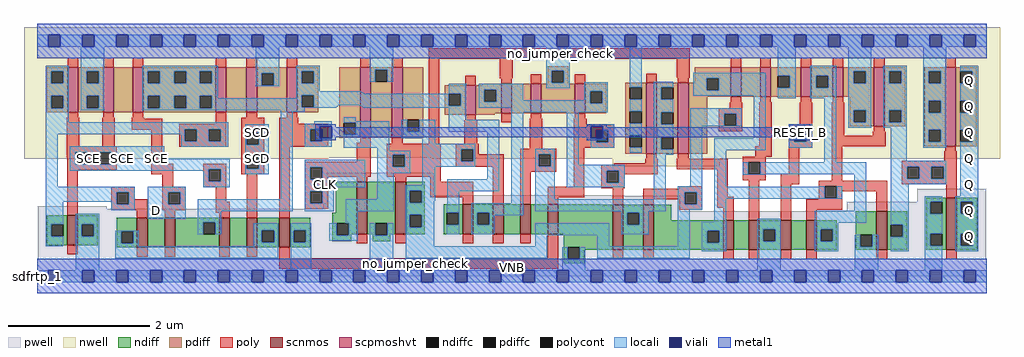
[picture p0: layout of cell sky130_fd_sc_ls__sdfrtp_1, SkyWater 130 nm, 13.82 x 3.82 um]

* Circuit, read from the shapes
.subckt sky130_fd_sc_ls__sdfrtp_1 CLK D RESET_B SCD SCE VGND VNB VPB VPWR Q
XM1 VGND SCE n1 VNB sky130_fd_pr__nfet_01v8 w=0.42 l=0.15
XM2 n2 n1 n3 VNB sky130_fd_pr__nfet_01v8 w=0.42 l=0.15
XM3 n4 D n2 VNB sky130_fd_pr__nfet_01v8 w=0.42 l=0.15
XM4 n5 SCE n4 VNB sky130_fd_pr__nfet_01v8 w=0.42 l=0.15
XM5 n3 SCD n5 VNB sky130_fd_pr__nfet_01v8 w=0.42 l=0.15
XM6 VGND RESET_B n3 VNB sky130_fd_pr__nfet_01v8 w=0.42 l=0.15
XM7 VGND CLK n6 VNB sky130_fd_pr__nfet_01v8 w=0.74 l=0.15
XM8 n7 n6 VGND VNB sky130_fd_pr__nfet_01v8 w=0.74 l=0.15
XM9 n8 n6 n4 VNB sky130_fd_pr__nfet_01v8 w=0.42 l=0.15
XM10 n9 n7 n8 VNB sky130_fd_pr__nfet_01v8 w=0.42 l=0.15
XM11 n10 n11 n9 VNB sky130_fd_pr__nfet_01v8 w=0.42 l=0.15
XM12 VGND RESET_B n10 VNB sky130_fd_pr__nfet_01v8 w=0.42 l=0.15
XM13 n11 n8 VGND VNB sky130_fd_pr__nfet_01v8 w=0.64 l=0.15
XM14 n12 n7 n11 VNB sky130_fd_pr__nfet_01v8 w=0.64 l=0.15
XM15 n13 n6 n12 VNB sky130_fd_pr__nfet_01v8 w=0.42 l=0.15
XM16 VGND n14 n13 VNB sky130_fd_pr__nfet_01v8 w=0.42 l=0.15
XM17 n15 RESET_B VGND VNB sky130_fd_pr__nfet_01v8 w=0.42 l=0.15
XM18 n14 n12 n15 VNB sky130_fd_pr__nfet_01v8 w=0.42 l=0.15
XM19 n16 n12 VGND VNB sky130_fd_pr__nfet_01v8 w=0.55 l=0.15
XM20 Q n16 VGND VNB sky130_fd_pr__nfet_01v8 w=0.74 l=0.15
XM21 VPWR SCE n1 VPB sky130_fd_pr__pfet_01v8_hvt w=0.64 l=0.15
XM22 n17 SCE VPWR VPB sky130_fd_pr__pfet_01v8_hvt w=0.64 l=0.15
XM23 n4 D n17 VPB sky130_fd_pr__pfet_01v8_hvt w=0.64 l=0.15
XM24 n18 n1 n4 VPB sky130_fd_pr__pfet_01v8_hvt w=0.64 l=0.15
XM25 VPWR SCD n18 VPB sky130_fd_pr__pfet_01v8_hvt w=0.64 l=0.15
XM26 n4 RESET_B VPWR VPB sky130_fd_pr__pfet_01v8_hvt w=0.64 l=0.15
XM27 VPWR CLK n6 VPB sky130_fd_pr__pfet_01v8_hvt w=1 l=0.15
XM28 n7 n6 VPWR VPB sky130_fd_pr__pfet_01v8_hvt w=1 l=0.15
XM29 n8 n7 n4 VPB sky130_fd_pr__pfet_01v8_hvt w=0.42 l=0.15
XM30 n19 n6 n8 VPB sky130_fd_pr__pfet_01v8_hvt w=0.42 l=0.15
XM31 VPWR n11 n19 VPB sky130_fd_pr__pfet_01v8_hvt w=0.42 l=0.15
XM32 n8 RESET_B VPWR VPB sky130_fd_pr__pfet_01v8_hvt w=0.42 l=0.15
XM33 n11 n8 VPWR VPB sky130_fd_pr__pfet_01v8_hvt w=1 l=0.15
XM34 n12 n6 n11 VPB sky130_fd_pr__pfet_01v8_hvt w=1 l=0.15
XM35 n20 n7 n12 VPB sky130_fd_pr__pfet_01v8_hvt w=0.42 l=0.15
XM36 VPWR n14 n20 VPB sky130_fd_pr__pfet_01v8_hvt w=0.42 l=0.15
XM37 n14 RESET_B VPWR VPB sky130_fd_pr__pfet_01v8_hvt w=0.42 l=0.15
XM38 VPWR n12 n14 VPB sky130_fd_pr__pfet_01v8_hvt w=0.42 l=0.15
XM39 n16 n12 VPWR VPB sky130_fd_pr__pfet_01v8_hvt w=0.84 l=0.15
XM40 Q n16 VPWR VPB sky130_fd_pr__pfet_01v8_hvt w=1.12 l=0.15
.ends

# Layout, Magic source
magic
tech sky130A
magscale 1 2
<< nwell >>
rect -38 335 2726 704
rect -38 332 825 335
rect 1117 332 2726 335
rect 1629 311 1933 332
<< pwell >>
rect 819 229 1123 293
rect 819 228 1625 229
rect 819 206 1821 228
rect 2491 210 2687 248
rect 1 191 197 198
rect 809 191 1821 206
rect 1 184 1821 191
rect 2292 184 2687 210
rect 1 49 2687 184
rect 0 0 2688 49
<< scnmos >>
rect 84 88 114 172
rect 282 81 312 165
rect 360 81 390 165
rect 515 81 545 165
rect 593 81 623 165
rect 685 81 715 165
rect 904 119 934 267
rect 1014 119 1044 267
rect 1204 119 1234 203
rect 1290 119 1320 203
rect 1367 119 1397 203
rect 1445 119 1475 203
rect 1629 74 1659 202
rect 1715 74 1745 202
rect 1942 74 1972 158
rect 2014 74 2044 158
rect 2105 74 2135 158
rect 2177 74 2207 158
rect 2376 74 2406 184
rect 2574 74 2604 222
<< scpmoshvt >>
rect 86 464 116 592
rect 186 464 216 592
rect 270 464 300 592
rect 505 464 535 592
rect 592 464 622 592
rect 706 464 736 592
rect 914 392 944 592
rect 1004 392 1034 592
rect 1212 457 1242 541
rect 1313 461 1343 545
rect 1397 461 1427 545
rect 1522 461 1552 545
rect 1724 347 1754 547
rect 1814 347 1844 547
rect 1963 508 1993 592
rect 2047 508 2077 592
rect 2162 508 2192 592
rect 2252 508 2282 592
rect 2369 424 2399 592
rect 2571 368 2601 592
<< ndiff >>
rect 27 147 84 172
rect 27 113 39 147
rect 73 113 84 147
rect 27 88 84 113
rect 114 147 171 172
rect 845 180 904 267
rect 114 113 125 147
rect 159 113 171 147
rect 114 88 171 113
rect 225 127 282 165
rect 225 93 237 127
rect 271 93 282 127
rect 225 81 282 93
rect 312 81 360 165
rect 390 153 515 165
rect 390 119 470 153
rect 504 119 515 153
rect 390 81 515 119
rect 545 81 593 165
rect 623 130 685 165
rect 623 96 636 130
rect 670 96 685 130
rect 623 81 685 96
rect 715 130 772 165
rect 715 96 726 130
rect 760 96 772 130
rect 835 150 904 180
rect 835 116 847 150
rect 881 119 904 150
rect 934 150 1014 267
rect 934 119 957 150
rect 881 116 889 119
rect 835 98 889 116
rect 715 81 772 96
rect 949 116 957 119
rect 991 119 1014 150
rect 1044 241 1097 267
rect 1044 207 1055 241
rect 1089 207 1097 241
rect 1044 173 1097 207
rect 1044 139 1055 173
rect 1089 139 1097 173
rect 1044 119 1097 139
rect 1151 179 1204 203
rect 1151 145 1159 179
rect 1193 145 1204 179
rect 1151 119 1204 145
rect 1234 179 1290 203
rect 1234 145 1245 179
rect 1279 145 1290 179
rect 1234 119 1290 145
rect 1320 119 1367 203
rect 1397 119 1445 203
rect 1475 202 1599 203
rect 1475 119 1629 202
rect 991 116 999 119
rect 949 98 999 116
rect 1490 82 1629 119
rect 1490 48 1502 82
rect 1536 74 1629 82
rect 1659 179 1715 202
rect 1659 145 1670 179
rect 1704 145 1715 179
rect 1659 74 1715 145
rect 1745 158 1795 202
rect 2517 210 2574 222
rect 1745 129 1942 158
rect 1745 95 1897 129
rect 1931 95 1942 129
rect 1745 74 1942 95
rect 1972 74 2014 158
rect 2044 133 2105 158
rect 2044 99 2055 133
rect 2089 99 2105 133
rect 2044 74 2105 99
rect 2135 74 2177 158
rect 2207 133 2264 158
rect 2207 99 2218 133
rect 2252 99 2264 133
rect 2207 74 2264 99
rect 2318 117 2376 184
rect 2318 83 2330 117
rect 2364 83 2376 117
rect 2318 74 2376 83
rect 2406 146 2463 184
rect 2406 112 2417 146
rect 2451 112 2463 146
rect 2406 74 2463 112
rect 2517 176 2529 210
rect 2563 176 2574 210
rect 2517 120 2574 176
rect 2517 86 2529 120
rect 2563 86 2574 120
rect 2517 74 2574 86
rect 2604 210 2661 222
rect 2604 176 2615 210
rect 2649 176 2661 210
rect 2604 120 2661 176
rect 2604 86 2615 120
rect 2649 86 2661 120
rect 2604 74 2661 86
rect 1536 48 1548 74
rect 1490 36 1548 48
<< pdiff >>
rect 27 580 86 592
rect 27 546 39 580
rect 73 546 86 580
rect 27 510 86 546
rect 27 476 39 510
rect 73 476 86 510
rect 27 464 86 476
rect 116 580 186 592
rect 116 546 139 580
rect 173 546 186 580
rect 116 510 186 546
rect 116 476 139 510
rect 173 476 186 510
rect 116 464 186 476
rect 216 464 270 592
rect 300 580 505 592
rect 300 546 313 580
rect 347 546 387 580
rect 421 546 460 580
rect 494 546 505 580
rect 300 510 505 546
rect 300 476 313 510
rect 347 476 387 510
rect 421 476 460 510
rect 494 476 505 510
rect 300 464 505 476
rect 535 464 592 592
rect 622 575 706 592
rect 622 541 635 575
rect 669 541 706 575
rect 622 464 706 541
rect 736 580 795 592
rect 736 546 749 580
rect 783 546 795 580
rect 736 512 795 546
rect 736 478 749 512
rect 783 478 795 512
rect 736 464 795 478
rect 855 434 914 592
rect 855 400 867 434
rect 901 400 914 434
rect 855 392 914 400
rect 944 584 1004 592
rect 944 550 957 584
rect 991 550 1004 584
rect 944 392 1004 550
rect 1034 443 1093 592
rect 1034 409 1047 443
rect 1081 409 1093 443
rect 1034 392 1093 409
rect 1445 582 1504 594
rect 1445 548 1457 582
rect 1491 548 1504 582
rect 1445 545 1504 548
rect 1862 560 1963 592
rect 1862 547 1895 560
rect 1260 541 1313 545
rect 1153 516 1212 541
rect 1153 482 1165 516
rect 1199 482 1212 516
rect 1153 457 1212 482
rect 1242 528 1313 541
rect 1242 494 1266 528
rect 1300 494 1313 528
rect 1242 461 1313 494
rect 1343 461 1397 545
rect 1427 461 1522 545
rect 1552 523 1611 545
rect 1552 489 1565 523
rect 1599 489 1611 523
rect 1552 461 1611 489
rect 1665 535 1724 547
rect 1665 501 1677 535
rect 1711 501 1724 535
rect 1665 467 1724 501
rect 1242 457 1295 461
rect 1665 433 1677 467
rect 1711 433 1724 467
rect 1665 399 1724 433
rect 1665 365 1677 399
rect 1711 365 1724 399
rect 1665 347 1724 365
rect 1754 535 1814 547
rect 1754 501 1767 535
rect 1801 501 1814 535
rect 1754 464 1814 501
rect 1754 430 1767 464
rect 1801 430 1814 464
rect 1754 393 1814 430
rect 1754 359 1767 393
rect 1801 359 1814 393
rect 1754 347 1814 359
rect 1844 526 1895 547
rect 1929 526 1963 560
rect 1844 508 1963 526
rect 1993 508 2047 592
rect 2077 567 2162 592
rect 2077 533 2097 567
rect 2131 533 2162 567
rect 2077 508 2162 533
rect 2192 567 2252 592
rect 2192 533 2205 567
rect 2239 533 2252 567
rect 2192 508 2252 533
rect 2282 580 2369 592
rect 2282 546 2312 580
rect 2346 546 2369 580
rect 2282 508 2369 546
rect 1844 347 1897 508
rect 2300 470 2369 508
rect 2300 436 2312 470
rect 2346 436 2369 470
rect 2300 424 2369 436
rect 2399 580 2458 592
rect 2399 546 2412 580
rect 2446 546 2458 580
rect 2399 470 2458 546
rect 2399 436 2412 470
rect 2446 436 2458 470
rect 2399 424 2458 436
rect 2512 580 2571 592
rect 2512 546 2524 580
rect 2558 546 2571 580
rect 2512 497 2571 546
rect 2512 463 2524 497
rect 2558 463 2571 497
rect 2512 414 2571 463
rect 2512 380 2524 414
rect 2558 380 2571 414
rect 2512 368 2571 380
rect 2601 580 2660 592
rect 2601 546 2614 580
rect 2648 546 2660 580
rect 2601 497 2660 546
rect 2601 463 2614 497
rect 2648 463 2660 497
rect 2601 414 2660 463
rect 2601 380 2614 414
rect 2648 380 2660 414
rect 2601 368 2660 380
<< ndiffc >>
rect 39 113 73 147
rect 125 113 159 147
rect 237 93 271 127
rect 470 119 504 153
rect 636 96 670 130
rect 726 96 760 130
rect 847 116 881 150
rect 957 116 991 150
rect 1055 207 1089 241
rect 1055 139 1089 173
rect 1159 145 1193 179
rect 1245 145 1279 179
rect 1502 48 1536 82
rect 1670 145 1704 179
rect 1897 95 1931 129
rect 2055 99 2089 133
rect 2218 99 2252 133
rect 2330 83 2364 117
rect 2417 112 2451 146
rect 2529 176 2563 210
rect 2529 86 2563 120
rect 2615 176 2649 210
rect 2615 86 2649 120
<< pdiffc >>
rect 39 546 73 580
rect 39 476 73 510
rect 139 546 173 580
rect 139 476 173 510
rect 313 546 347 580
rect 387 546 421 580
rect 460 546 494 580
rect 313 476 347 510
rect 387 476 421 510
rect 460 476 494 510
rect 635 541 669 575
rect 749 546 783 580
rect 749 478 783 512
rect 867 400 901 434
rect 957 550 991 584
rect 1047 409 1081 443
rect 1457 548 1491 582
rect 1165 482 1199 516
rect 1266 494 1300 528
rect 1565 489 1599 523
rect 1677 501 1711 535
rect 1677 433 1711 467
rect 1677 365 1711 399
rect 1767 501 1801 535
rect 1767 430 1801 464
rect 1767 359 1801 393
rect 1895 526 1929 560
rect 2097 533 2131 567
rect 2205 533 2239 567
rect 2312 546 2346 580
rect 2312 436 2346 470
rect 2412 546 2446 580
rect 2412 436 2446 470
rect 2524 546 2558 580
rect 2524 463 2558 497
rect 2524 380 2558 414
rect 2614 546 2648 580
rect 2614 463 2648 497
rect 2614 380 2648 414
<< poly >>
rect 86 592 116 618
rect 186 592 216 618
rect 270 592 300 618
rect 505 592 535 618
rect 592 592 622 618
rect 706 592 736 618
rect 914 592 944 618
rect 1004 592 1034 618
rect 1108 615 1847 645
rect 86 449 116 464
rect 186 449 216 464
rect 270 449 300 464
rect 83 367 119 449
rect 183 367 219 449
rect 267 445 303 449
rect 267 415 353 445
rect 505 432 535 464
rect 592 449 622 464
rect 706 449 736 464
rect 83 351 225 367
rect 83 337 107 351
rect 84 317 107 337
rect 141 317 175 351
rect 209 317 225 351
rect 84 301 225 317
rect 323 318 353 415
rect 401 416 535 432
rect 401 382 417 416
rect 451 382 485 416
rect 519 382 535 416
rect 401 366 535 382
rect 577 406 643 449
rect 577 372 593 406
rect 627 372 643 406
rect 577 338 643 372
rect 84 172 114 301
rect 323 288 384 318
rect 354 253 384 288
rect 469 302 535 318
rect 469 268 485 302
rect 519 268 535 302
rect 577 304 593 338
rect 627 304 643 338
rect 577 288 643 304
rect 685 432 739 449
rect 685 416 823 432
rect 685 382 773 416
rect 807 382 823 416
rect 685 370 823 382
rect 914 377 944 392
rect 685 366 819 370
rect 209 237 275 253
rect 209 203 225 237
rect 259 217 275 237
rect 354 237 420 253
rect 469 252 535 268
rect 259 203 312 217
rect 209 187 312 203
rect 354 203 370 237
rect 404 203 420 237
rect 354 187 420 203
rect 505 210 535 252
rect 282 165 312 187
rect 360 165 390 187
rect 505 180 545 210
rect 515 165 545 180
rect 593 165 623 288
rect 685 165 715 366
rect 904 324 944 377
rect 1004 375 1034 392
rect 1108 375 1138 615
rect 1212 541 1242 567
rect 1310 560 1346 615
rect 1313 545 1343 560
rect 1397 545 1427 571
rect 1522 545 1552 571
rect 1724 547 1754 573
rect 1811 562 1847 615
rect 1963 592 1993 618
rect 2047 592 2077 618
rect 2162 592 2192 618
rect 2252 592 2282 618
rect 2369 592 2399 618
rect 2571 592 2601 618
rect 1814 547 1844 562
rect 1212 442 1242 457
rect 1209 375 1245 442
rect 1313 435 1343 461
rect 1397 446 1427 461
rect 1522 446 1552 461
rect 757 308 944 324
rect 757 274 773 308
rect 807 282 944 308
rect 990 344 1142 375
rect 990 310 1006 344
rect 1040 310 1142 344
rect 990 282 1142 310
rect 1184 359 1250 375
rect 1394 361 1430 446
rect 1519 429 1555 446
rect 1519 413 1633 429
rect 1519 379 1583 413
rect 1617 379 1633 413
rect 1519 363 1633 379
rect 1184 325 1200 359
rect 1234 345 1250 359
rect 1367 345 1470 361
rect 1234 325 1320 345
rect 1184 309 1320 325
rect 807 274 823 282
rect 757 240 823 274
rect 904 267 934 282
rect 1014 267 1044 282
rect 1112 267 1142 282
rect 757 206 773 240
rect 807 206 823 240
rect 757 190 823 206
rect 84 62 114 88
rect 904 93 934 119
rect 1112 223 1234 267
rect 1204 203 1234 223
rect 1290 203 1320 309
rect 1367 311 1420 345
rect 1454 311 1470 345
rect 1367 295 1470 311
rect 1367 203 1397 295
rect 1519 253 1549 363
rect 1963 493 1993 508
rect 2047 493 2077 508
rect 2162 493 2192 508
rect 2252 493 2282 508
rect 1960 476 1996 493
rect 1929 460 1996 476
rect 1929 426 1945 460
rect 1979 426 1996 460
rect 1929 410 1996 426
rect 2044 368 2080 493
rect 2159 430 2195 493
rect 1724 332 1754 347
rect 1814 332 1844 347
rect 2033 338 2080 368
rect 2128 414 2195 430
rect 2128 380 2144 414
rect 2178 380 2195 414
rect 2128 364 2195 380
rect 2249 398 2285 493
rect 2369 409 2399 424
rect 2366 398 2402 409
rect 2249 368 2402 398
rect 1721 319 1757 332
rect 1633 315 1757 319
rect 1445 223 1549 253
rect 1597 299 1757 315
rect 1811 302 1955 332
rect 1597 265 1613 299
rect 1647 289 1757 299
rect 1647 265 1663 289
rect 1597 249 1663 265
rect 1445 203 1475 223
rect 1629 202 1659 249
rect 1817 247 1883 254
rect 1715 238 1883 247
rect 1715 217 1833 238
rect 1715 202 1745 217
rect 1817 204 1833 217
rect 1867 204 1883 238
rect 1014 93 1044 119
rect 1204 93 1234 119
rect 1290 93 1320 119
rect 1367 93 1397 119
rect 282 55 312 81
rect 360 55 390 81
rect 515 55 545 81
rect 593 55 623 81
rect 685 51 715 81
rect 1445 51 1475 119
rect 685 21 1475 51
rect 1817 188 1883 204
rect 1925 224 1955 302
rect 1997 322 2063 338
rect 1997 288 2013 322
rect 2047 288 2063 322
rect 2128 290 2158 364
rect 1997 272 2063 288
rect 1925 194 1972 224
rect 1942 158 1972 194
rect 2014 158 2044 272
rect 2105 260 2158 290
rect 2249 270 2279 368
rect 2571 353 2601 368
rect 2568 326 2604 353
rect 2448 310 2604 326
rect 2448 276 2464 310
rect 2498 276 2532 310
rect 2566 276 2604 310
rect 2105 158 2135 260
rect 2213 254 2406 270
rect 2448 260 2604 276
rect 2213 220 2229 254
rect 2263 240 2406 254
rect 2263 220 2279 240
rect 2213 218 2279 220
rect 2177 188 2279 218
rect 2177 158 2207 188
rect 2376 184 2406 240
rect 2574 222 2604 260
rect 1629 48 1659 74
rect 1715 48 1745 74
rect 1942 48 1972 74
rect 2014 48 2044 74
rect 2105 48 2135 74
rect 2177 48 2207 74
rect 2376 48 2406 74
rect 2574 48 2604 74
<< polycont >>
rect 107 317 141 351
rect 175 317 209 351
rect 417 382 451 416
rect 485 382 519 416
rect 593 372 627 406
rect 485 268 519 302
rect 593 304 627 338
rect 773 382 807 416
rect 225 203 259 237
rect 370 203 404 237
rect 773 274 807 308
rect 1006 310 1040 344
rect 1583 379 1617 413
rect 1200 325 1234 359
rect 773 206 807 240
rect 1420 311 1454 345
rect 1945 426 1979 460
rect 2144 380 2178 414
rect 1613 265 1647 299
rect 1833 204 1867 238
rect 2013 288 2047 322
rect 2464 276 2498 310
rect 2532 276 2566 310
rect 2229 220 2263 254
<< locali >>
rect 0 649 31 683
rect 65 649 127 683
rect 161 649 223 683
rect 257 649 319 683
rect 353 649 415 683
rect 449 649 511 683
rect 545 649 607 683
rect 641 649 703 683
rect 737 649 799 683
rect 833 649 895 683
rect 929 649 991 683
rect 1025 649 1087 683
rect 1121 649 1183 683
rect 1217 649 1279 683
rect 1313 649 1375 683
rect 1409 649 1471 683
rect 1505 649 1567 683
rect 1601 649 1663 683
rect 1697 649 1759 683
rect 1793 649 1855 683
rect 1889 649 1951 683
rect 1985 649 2047 683
rect 2081 649 2143 683
rect 2177 649 2239 683
rect 2273 649 2335 683
rect 2369 649 2431 683
rect 2465 649 2527 683
rect 2561 649 2623 683
rect 2657 649 2688 683
rect 23 580 89 596
rect 23 546 39 580
rect 73 546 89 580
rect 23 510 89 546
rect 23 476 39 510
rect 73 476 89 510
rect 23 435 89 476
rect 123 580 189 649
rect 123 546 139 580
rect 173 546 189 580
rect 123 510 189 546
rect 123 476 139 510
rect 173 476 189 510
rect 123 469 189 476
rect 297 580 511 596
rect 297 546 313 580
rect 347 546 387 580
rect 421 546 460 580
rect 494 546 511 580
rect 297 510 511 546
rect 619 575 685 649
rect 619 541 635 575
rect 669 541 685 575
rect 619 537 685 541
rect 733 580 799 596
rect 733 546 749 580
rect 783 546 799 580
rect 941 584 1007 649
rect 941 550 957 584
rect 991 550 1007 584
rect 1441 582 1508 649
rect 297 476 313 510
rect 347 476 387 510
rect 421 476 460 510
rect 494 503 511 510
rect 733 524 799 546
rect 1441 548 1457 582
rect 1491 548 1508 582
rect 733 520 916 524
rect 733 518 922 520
rect 733 517 926 518
rect 733 516 929 517
rect 1165 516 1215 545
rect 733 512 1165 516
rect 733 503 749 512
rect 494 478 749 503
rect 783 484 1165 512
rect 783 480 850 484
rect 911 483 1165 484
rect 914 482 1165 483
rect 1199 482 1215 516
rect 918 480 1215 482
rect 783 478 846 480
rect 494 477 846 478
rect 923 477 1215 480
rect 1250 528 1376 545
rect 1441 532 1508 548
rect 1250 494 1266 528
rect 1300 498 1376 528
rect 1549 523 1615 549
rect 1549 498 1565 523
rect 1300 494 1565 498
rect 1250 489 1565 494
rect 1599 489 1615 523
rect 1250 477 1615 489
rect 494 476 757 477
rect 297 469 757 476
rect 689 466 757 469
rect 23 416 541 435
rect 23 401 417 416
rect 23 253 57 401
rect 407 382 417 401
rect 451 382 485 416
rect 519 382 541 416
rect 91 351 359 367
rect 407 366 541 382
rect 589 406 655 430
rect 589 372 593 406
rect 627 372 655 406
rect 91 317 107 351
rect 141 317 175 351
rect 209 332 359 351
rect 589 338 655 372
rect 209 317 545 332
rect 91 302 545 317
rect 91 298 485 302
rect 469 268 485 298
rect 519 268 545 302
rect 589 304 593 338
rect 627 304 655 338
rect 589 288 655 304
rect 23 237 275 253
rect 23 210 225 237
rect 23 147 73 210
rect 209 203 225 210
rect 259 203 275 237
rect 209 187 275 203
rect 313 237 420 253
rect 469 252 545 268
rect 313 203 370 237
rect 404 203 420 237
rect 689 218 723 466
rect 867 439 901 450
rect 1165 443 1215 477
rect 1342 464 1615 477
rect 1677 535 1711 649
rect 1858 560 2063 576
rect 1677 467 1711 501
rect 784 432 833 438
rect 757 424 833 432
rect 757 416 799 424
rect 757 382 773 416
rect 807 382 833 390
rect 757 366 833 382
rect 867 434 996 439
rect 901 400 996 434
rect 867 364 996 400
rect 1031 409 1047 443
rect 1081 409 1126 443
rect 1165 409 1308 443
rect 1031 391 1126 409
rect 962 355 996 364
rect 1090 375 1126 391
rect 1090 359 1240 375
rect 962 344 1056 355
rect 23 113 39 147
rect 23 84 73 113
rect 109 147 175 176
rect 313 162 420 203
rect 454 184 723 218
rect 757 308 928 330
rect 757 274 773 308
rect 807 274 928 308
rect 757 252 928 274
rect 962 310 1006 344
rect 1040 310 1056 344
rect 962 291 1056 310
rect 1090 325 1200 359
rect 1234 325 1240 359
rect 1090 309 1240 325
rect 757 240 839 252
rect 757 206 773 240
rect 807 206 839 240
rect 962 218 1009 291
rect 1090 257 1126 309
rect 1274 274 1308 409
rect 757 184 839 206
rect 873 184 1009 218
rect 1043 241 1126 257
rect 1043 207 1055 241
rect 1089 214 1126 241
rect 1160 240 1308 274
rect 1089 207 1124 214
rect 109 113 125 147
rect 159 113 175 147
rect 454 153 520 184
rect 109 17 175 113
rect 221 127 287 128
rect 221 93 237 127
rect 271 93 287 127
rect 454 119 470 153
rect 504 119 520 153
rect 873 150 907 184
rect 1043 173 1124 207
rect 1160 199 1195 240
rect 1342 206 1376 464
rect 612 130 682 150
rect 221 85 287 93
rect 612 96 636 130
rect 670 96 682 130
rect 612 85 682 96
rect 221 51 682 85
rect 718 130 776 150
rect 718 96 726 130
rect 760 96 776 130
rect 827 116 847 150
rect 881 116 907 150
rect 827 100 907 116
rect 941 116 957 150
rect 991 116 1007 150
rect 718 17 776 96
rect 941 17 1007 116
rect 1043 139 1055 173
rect 1089 139 1124 173
rect 1043 85 1124 139
rect 1159 179 1195 199
rect 1193 145 1195 179
rect 1159 119 1195 145
rect 1229 179 1376 206
rect 1410 345 1465 361
rect 1410 311 1420 345
rect 1454 311 1465 345
rect 1410 218 1465 311
rect 1499 315 1533 464
rect 1567 424 1633 430
rect 1601 413 1633 424
rect 1567 379 1583 390
rect 1617 379 1633 413
rect 1567 363 1633 379
rect 1677 399 1711 433
rect 1677 349 1711 365
rect 1745 535 1801 551
rect 1745 501 1767 535
rect 1858 526 1895 560
rect 1929 526 2063 560
rect 1858 510 2063 526
rect 1745 464 1801 501
rect 1745 430 1767 464
rect 1745 393 1801 430
rect 1745 359 1767 393
rect 1745 343 1801 359
rect 1849 460 1995 476
rect 1849 426 1945 460
rect 1979 426 1995 460
rect 1849 425 1995 426
rect 1499 299 1663 315
rect 1499 265 1613 299
rect 1647 265 1663 299
rect 1499 252 1663 265
rect 1745 218 1779 343
rect 1849 254 1883 425
rect 2029 391 2063 510
rect 2097 567 2147 649
rect 2131 533 2147 567
rect 2097 504 2147 533
rect 2189 567 2262 596
rect 2189 533 2205 567
rect 2239 533 2262 567
rect 2189 504 2262 533
rect 1410 184 1779 218
rect 1813 238 1883 254
rect 1813 204 1833 238
rect 1867 204 1883 238
rect 1813 188 1883 204
rect 1917 357 2063 391
rect 2128 424 2194 430
rect 2128 390 2143 424
rect 2177 414 2194 424
rect 2128 380 2144 390
rect 2178 380 2194 414
rect 2128 364 2194 380
rect 1917 253 1951 357
rect 2228 323 2262 504
rect 2296 580 2362 649
rect 2296 546 2312 580
rect 2346 546 2362 580
rect 2296 470 2362 546
rect 2296 436 2312 470
rect 2346 436 2362 470
rect 2296 420 2362 436
rect 2396 580 2462 596
rect 2396 546 2412 580
rect 2446 546 2462 580
rect 2396 470 2462 546
rect 2396 436 2412 470
rect 2446 436 2462 470
rect 2396 420 2462 436
rect 2417 326 2462 420
rect 2508 580 2574 649
rect 2508 546 2524 580
rect 2558 546 2574 580
rect 2508 497 2574 546
rect 2508 463 2524 497
rect 2558 463 2574 497
rect 2508 414 2574 463
rect 2508 380 2524 414
rect 2558 380 2574 414
rect 2508 364 2574 380
rect 2614 580 2665 596
rect 2648 546 2665 580
rect 2614 497 2665 546
rect 2648 463 2665 497
rect 2614 414 2665 463
rect 2648 380 2665 414
rect 1997 322 2347 323
rect 1997 288 2013 322
rect 2047 289 2347 322
rect 2047 288 2063 289
rect 1997 287 2063 288
rect 2213 254 2279 255
rect 2213 253 2229 254
rect 1917 220 2229 253
rect 2263 220 2279 254
rect 1917 219 2279 220
rect 1229 145 1245 179
rect 1279 172 1376 179
rect 1654 179 1731 184
rect 1279 145 1294 172
rect 1229 119 1294 145
rect 1410 116 1620 150
rect 1654 145 1670 179
rect 1704 145 1731 179
rect 1654 119 1731 145
rect 1410 85 1444 116
rect 1043 51 1444 85
rect 1586 85 1620 116
rect 1813 85 1847 188
rect 1917 154 1951 219
rect 2313 185 2347 289
rect 1486 48 1502 82
rect 1536 48 1552 82
rect 1586 51 1847 85
rect 1881 129 1951 154
rect 1881 95 1897 129
rect 1931 95 1951 129
rect 1881 70 1951 95
rect 2039 133 2105 162
rect 2039 99 2055 133
rect 2089 99 2105 133
rect 1486 17 1552 48
rect 2039 17 2105 99
rect 2202 151 2347 185
rect 2417 310 2574 326
rect 2417 276 2464 310
rect 2498 276 2532 310
rect 2566 276 2574 310
rect 2417 260 2574 276
rect 2202 133 2268 151
rect 2202 99 2218 133
rect 2252 99 2268 133
rect 2417 146 2467 260
rect 2614 226 2665 380
rect 2202 70 2268 99
rect 2314 83 2330 117
rect 2364 83 2381 117
rect 2314 17 2381 83
rect 2451 112 2467 146
rect 2417 70 2467 112
rect 2513 210 2563 226
rect 2513 176 2529 210
rect 2513 120 2563 176
rect 2513 86 2529 120
rect 2513 17 2563 86
rect 2599 210 2665 226
rect 2599 176 2615 210
rect 2649 176 2665 210
rect 2599 120 2665 176
rect 2599 86 2615 120
rect 2649 86 2665 120
rect 2599 70 2665 86
rect 0 -17 31 17
rect 65 -17 127 17
rect 161 -17 223 17
rect 257 -17 319 17
rect 353 -17 415 17
rect 449 -17 511 17
rect 545 -17 607 17
rect 641 -17 703 17
rect 737 -17 799 17
rect 833 -17 895 17
rect 929 -17 991 17
rect 1025 -17 1087 17
rect 1121 -17 1183 17
rect 1217 -17 1279 17
rect 1313 -17 1375 17
rect 1409 -17 1471 17
rect 1505 -17 1567 17
rect 1601 -17 1663 17
rect 1697 -17 1759 17
rect 1793 -17 1855 17
rect 1889 -17 1951 17
rect 1985 -17 2047 17
rect 2081 -17 2143 17
rect 2177 -17 2239 17
rect 2273 -17 2335 17
rect 2369 -17 2431 17
rect 2465 -17 2527 17
rect 2561 -17 2623 17
rect 2657 -17 2688 17
<< viali >>
rect 31 649 65 683
rect 127 649 161 683
rect 223 649 257 683
rect 319 649 353 683
rect 415 649 449 683
rect 511 649 545 683
rect 607 649 641 683
rect 703 649 737 683
rect 799 649 833 683
rect 895 649 929 683
rect 991 649 1025 683
rect 1087 649 1121 683
rect 1183 649 1217 683
rect 1279 649 1313 683
rect 1375 649 1409 683
rect 1471 649 1505 683
rect 1567 649 1601 683
rect 1663 649 1697 683
rect 1759 649 1793 683
rect 1855 649 1889 683
rect 1951 649 1985 683
rect 2047 649 2081 683
rect 2143 649 2177 683
rect 2239 649 2273 683
rect 2335 649 2369 683
rect 2431 649 2465 683
rect 2527 649 2561 683
rect 2623 649 2657 683
rect 799 416 833 424
rect 799 390 807 416
rect 807 390 833 416
rect 1567 413 1601 424
rect 1567 390 1583 413
rect 1583 390 1601 413
rect 2143 414 2177 424
rect 2143 390 2144 414
rect 2144 390 2177 414
rect 31 -17 65 17
rect 127 -17 161 17
rect 223 -17 257 17
rect 319 -17 353 17
rect 415 -17 449 17
rect 511 -17 545 17
rect 607 -17 641 17
rect 703 -17 737 17
rect 799 -17 833 17
rect 895 -17 929 17
rect 991 -17 1025 17
rect 1087 -17 1121 17
rect 1183 -17 1217 17
rect 1279 -17 1313 17
rect 1375 -17 1409 17
rect 1471 -17 1505 17
rect 1567 -17 1601 17
rect 1663 -17 1697 17
rect 1759 -17 1793 17
rect 1855 -17 1889 17
rect 1951 -17 1985 17
rect 2047 -17 2081 17
rect 2143 -17 2177 17
rect 2239 -17 2273 17
rect 2335 -17 2369 17
rect 2431 -17 2465 17
rect 2527 -17 2561 17
rect 2623 -17 2657 17
<< metal1 >>
rect 0 683 2688 715
rect 0 649 31 683
rect 65 649 127 683
rect 161 649 223 683
rect 257 649 319 683
rect 353 649 415 683
rect 449 649 511 683
rect 545 649 607 683
rect 641 649 703 683
rect 737 649 799 683
rect 833 649 895 683
rect 929 649 991 683
rect 1025 649 1087 683
rect 1121 649 1183 683
rect 1217 649 1279 683
rect 1313 649 1375 683
rect 1409 649 1471 683
rect 1505 649 1567 683
rect 1601 649 1663 683
rect 1697 649 1759 683
rect 1793 649 1855 683
rect 1889 649 1951 683
rect 1985 649 2047 683
rect 2081 649 2143 683
rect 2177 649 2239 683
rect 2273 649 2335 683
rect 2369 649 2431 683
rect 2465 649 2527 683
rect 2561 649 2623 683
rect 2657 649 2688 683
rect 0 617 2688 649
rect 787 424 845 430
rect 787 390 799 424
rect 833 421 845 424
rect 1555 424 1613 430
rect 1555 421 1567 424
rect 833 393 1567 421
rect 833 390 845 393
rect 787 384 845 390
rect 1555 390 1567 393
rect 1601 421 1613 424
rect 2131 424 2189 430
rect 2131 421 2143 424
rect 1601 393 2143 421
rect 1601 390 1613 393
rect 1555 384 1613 390
rect 2131 390 2143 393
rect 2177 390 2189 424
rect 2131 384 2189 390
rect 0 17 2688 49
rect 0 -17 31 17
rect 65 -17 127 17
rect 161 -17 223 17
rect 257 -17 319 17
rect 353 -17 415 17
rect 449 -17 511 17
rect 545 -17 607 17
rect 641 -17 703 17
rect 737 -17 799 17
rect 833 -17 895 17
rect 929 -17 991 17
rect 1025 -17 1087 17
rect 1121 -17 1183 17
rect 1217 -17 1279 17
rect 1313 -17 1375 17
rect 1409 -17 1471 17
rect 1505 -17 1567 17
rect 1601 -17 1663 17
rect 1697 -17 1759 17
rect 1793 -17 1855 17
rect 1889 -17 1951 17
rect 1985 -17 2047 17
rect 2081 -17 2143 17
rect 2177 -17 2239 17
rect 2273 -17 2335 17
rect 2369 -17 2431 17
rect 2465 -17 2527 17
rect 2561 -17 2623 17
rect 2657 -17 2688 17
rect 0 -49 2688 -17
<< labels >>
rlabel comment s 0 0 0 0 4 sdfrtp_1
flabel comment s 1070 36 1070 36 0 FreeSans 300 0 0 0 no_jumper_check
flabel comment s 1480 630 1480 630 0 FreeSans 300 0 0 0 no_jumper_check
flabel pwell s 0 0 2688 49 0 FreeSans 200 0 0 0 VNB
port 7 nsew ground bidirectional
flabel nwell s 0 617 2688 666 0 FreeSans 200 0 0 0 VPB
port 8 nsew power bidirectional
flabel metal1 s 2143 390 2177 424 0 FreeSans 340 0 0 0 RESET_B
port 3 nsew signal input
flabel metal1 s 0 617 2688 666 0 FreeSans 340 0 0 0 VPWR
port 9 nsew power bidirectional abutment
flabel metal1 s 0 0 2688 49 0 FreeSans 340 0 0 0 VGND
port 6 nsew ground bidirectional abutment
flabel locali s 2623 94 2657 128 0 FreeSans 340 0 0 0 Q
port 10 nsew signal output
flabel locali s 2623 168 2657 202 0 FreeSans 340 0 0 0 Q
port 10 nsew signal output
flabel locali s 2623 242 2657 276 0 FreeSans 340 0 0 0 Q
port 10 nsew signal output
flabel locali s 2623 316 2657 350 0 FreeSans 340 0 0 0 Q
port 10 nsew signal output
flabel locali s 2623 390 2657 424 0 FreeSans 340 0 0 0 Q
port 10 nsew signal output
flabel locali s 2623 464 2657 498 0 FreeSans 340 0 0 0 Q
port 10 nsew signal output
flabel locali s 2623 538 2657 572 0 FreeSans 340 0 0 0 Q
port 10 nsew signal output
flabel locali s 127 316 161 350 0 FreeSans 340 0 0 0 SCE
port 5 nsew signal input
flabel locali s 223 316 257 350 0 FreeSans 340 0 0 0 SCE
port 5 nsew signal input
flabel locali s 319 316 353 350 0 FreeSans 340 0 0 0 SCE
port 5 nsew signal input
flabel locali s 799 242 833 276 0 FreeSans 340 0 0 0 CLK
port 1 nsew clock input
flabel locali s 607 316 641 350 0 FreeSans 340 0 0 0 SCD
port 4 nsew signal input
flabel locali s 607 390 641 424 0 FreeSans 340 0 0 0 SCD
port 4 nsew signal input
flabel locali s 319 168 353 202 0 FreeSans 340 0 0 0 D
port 2 nsew signal input
<< properties >>
string LEFsite unit
string LEFclass CORE
string FIXED_BBOX 0 0 2688 666
string GDS_FILE $PDKPATH/libs.ref/sky130_fd_sc_ls/gds/sky130_fd_sc_ls.gds
string LEFsymmetry X Y R90
string GDS_END 1743234
string GDS_START 1721608
<< end >>
